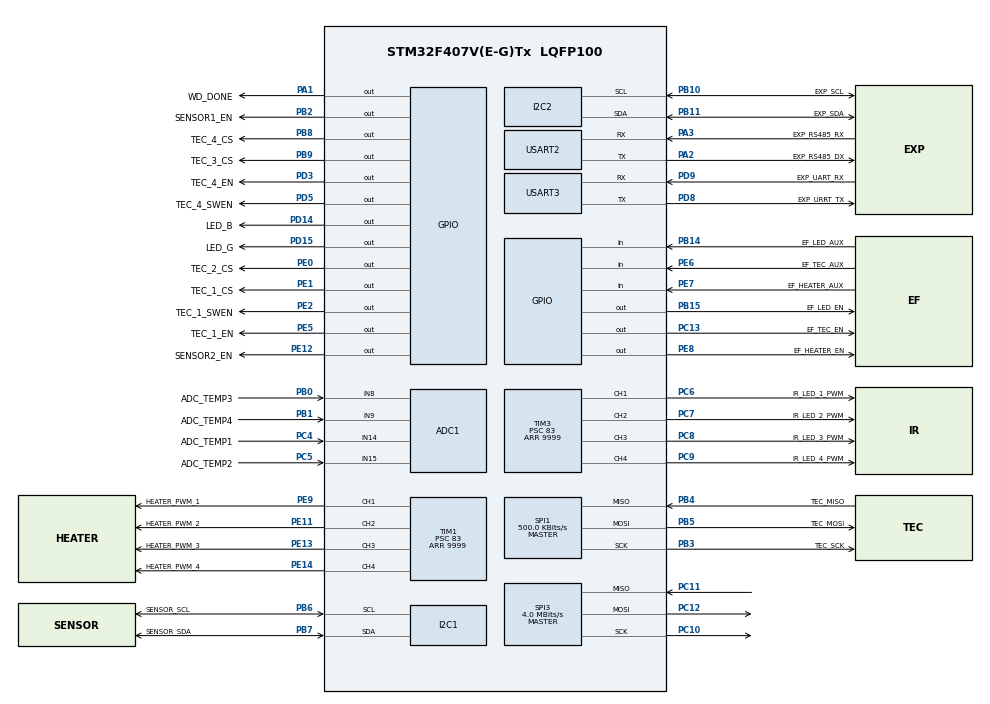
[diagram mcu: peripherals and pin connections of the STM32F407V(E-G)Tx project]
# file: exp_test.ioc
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ADC1.Channel-0\#ChannelRegularConversion=ADC_CHANNEL_14
ADC1.Channel-1\#ChannelRegularConversion=ADC_CHANNEL_15
ADC1.Channel-2\#ChannelRegularConversion=ADC_CHANNEL_8
ADC1.Channel-3\#ChannelRegularConversion=ADC_CHANNEL_9
ADC1.ContinuousConvMode=ENABLE
ADC1.DMAContinuousRequests=ENABLE
ADC1.EOCSelection=ADC_EOC_SEQ_CONV
ADC1.InjNumberOfConversion=0
ADC1.NbrOfConversion=4
ADC1.NbrOfConversionFlag=1
ADC1.Rank-0\#ChannelRegularConversion=1
ADC1.Rank-1\#ChannelRegularConversion=2
ADC1.Rank-2\#ChannelRegularConversion=3
ADC1.Rank-3\#ChannelRegularConversion=4
ADC1.SamplingTime-0\#ChannelRegularConversion=ADC_SAMPLETIME_15CYCLES
ADC1.SamplingTime-1\#ChannelRegularConversion=ADC_SAMPLETIME_15CYCLES
ADC1.SamplingTime-2\#ChannelRegularConversion=ADC_SAMPLETIME_15CYCLES
ADC1.SamplingTime-3\#ChannelRegularConversion=ADC_SAMPLETIME_15CYCLES
ADC1.ScanConvMode=ENABLE
ADC1.master=1
Dma.ADC1.0.Direction=DMA_PERIPH_TO_MEMORY
Dma.ADC1.0.FIFOMode=DMA_FIFOMODE_DISABLE
Dma.ADC1.0.Instance=DMA2_Stream0
Dma.ADC1.0.MemDataAlignment=DMA_MDATAALIGN_HALFWORD
Dma.ADC1.0.MemInc=DMA_MINC_ENABLE
Dma.ADC1.0.Mode=DMA_CIRCULAR
Dma.ADC1.0.PeriphDataAlignment=DMA_PDATAALIGN_HALFWORD
Dma.ADC1.0.PeriphInc=DMA_PINC_DISABLE
Dma.ADC1.0.Priority=DMA_PRIORITY_MEDIUM
Dma.Request0=ADC1
Mcu.Family=STM32F4
Mcu.Name=STM32F407V(E-G)Tx
Mcu.Package=LQFP100
NVIC.DMA2_Stream0_IRQn=true\:0\:0\:false\:false\:true\:false\:true\:true
NVIC.I2C2_ER_IRQn=true\:0\:0\:false\:false\:true\:true\:true\:true
NVIC.I2C2_EV_IRQn=true\:0\:0\:false\:false\:true\:true\:true\:true
NVIC.PriorityGroup=NVIC_PRIORITYGROUP_4
NVIC.USART2_IRQn=true\:0\:0\:false\:false\:true\:true\:true\:true
NVIC.USART3_IRQn=true\:0\:0\:false\:false\:true\:true\:true\:true
PA0-WKUP.Mode=SYS_WakeUp0
PA0-WKUP.Signal=SYS_WKUP
PA1.GPIO_Label=WD_DONE
PA1.Signal=GPIO_Output
PA13.Mode=Serial_Wire
PA13.Signal=SYS_JTMS-SWDIO
PA14.Mode=Serial_Wire
PA14.Signal=SYS_JTCK-SWCLK
PA2.GPIO_Label=EXP_RS485_DX
PA2.Mode=Asynchronous
PA2.Signal=USART2_TX
PA3.GPIO_Label=EXP_RS485_RX
PA3.Mode=Asynchronous
PA3.Signal=USART2_RX
PB0.GPIO_Label=ADC_TEMP3
PB0.Signal=ADCx_IN8
PB1.GPIO_Label=ADC_TEMP4
PB1.Signal=ADCx_IN9
PB10.GPIO_Label=EXP_SCL
PB10.Mode=I2C
PB10.Signal=I2C2_SCL
PB11.GPIO_Label=EXP_SDA
PB11.Mode=I2C
PB11.Signal=I2C2_SDA
PB12.GPIO_Label=EXP_CAN_RX
PB12.Signal=CAN2_RX
PB13.GPIO_Label=EXP_CAN_TX
PB13.Signal=CAN2_TX
PB14.GPIO_Label=EF_LED_AUX
PB14.Signal=GPIO_Input
PB15.GPIO_Label=EF_LED_EN
PB15.Signal=GPIO_Output
PB2.GPIO_Label=SENSOR1_EN
PB2.Signal=GPIO_Output
PB3.GPIO_Label=TEC_SCK
PB3.GPIO_PuPd=GPIO_NOPULL
PB3.Mode=Full_Duplex_Master
PB3.Signal=SPI1_SCK
PB4.GPIO_Label=TEC_MISO
PB4.GPIO_PuPd=GPIO_NOPULL
PB4.Mode=Full_Duplex_Master
PB4.Signal=SPI1_MISO
PB5.GPIO_Label=TEC_MOSI
PB5.GPIO_PuPd=GPIO_NOPULL
PB5.Mode=Full_Duplex_Master
PB5.Signal=SPI1_MOSI
PB6.GPIO_Label=SENSOR_SCL
PB6.Mode=I2C
PB6.Signal=I2C1_SCL
PB7.GPIO_Label=SENSOR_SDA
PB7.Mode=I2C
PB7.Signal=I2C1_SDA
PB8.GPIO_Label=TEC_4_CS
PB8.PinState=GPIO_PIN_SET
PB8.Signal=GPIO_Output
PB9.GPIO_Label=TEC_3_CS
PB9.PinState=GPIO_PIN_SET
PB9.Signal=GPIO_Output
PC10.Mode=Full_Duplex_Master
PC10.Signal=SPI3_SCK
PC11.Mode=Full_Duplex_Master
PC11.Signal=SPI3_MISO
PC12.Mode=Full_Duplex_Master
PC12.Signal=SPI3_MOSI
PC13-ANTI_TAMP.GPIO_Label=EF_TEC_EN
PC13-ANTI_TAMP.Signal=GPIO_Output
PC4.GPIO_Label=ADC_TEMP1
PC4.Signal=ADCx_IN14
PC5.GPIO_Label=ADC_TEMP2
PC5.Signal=ADCx_IN15
PC6.GPIO_Label=IR_LED_1_PWM
PC6.Signal=S_TIM3_CH1
PC7.GPIO_Label=IR_LED_2_PWM
PC7.Signal=S_TIM3_CH2
PC8.GPIO_Label=IR_LED_3_PWM
PC8.Signal=S_TIM3_CH3
PC9.GPIO_Label=IR_LED_4_PWM
PC9.Signal=S_TIM3_CH4
PD14.GPIO_Label=LED_B
PD14.Signal=GPIO_Output
PD15.GPIO_Label=LED_G
PD15.Signal=GPIO_Output
PD3.GPIO_Label=TEC_4_EN
PD3.Signal=GPIO_Output
PD5.GPIO_Label=TEC_4_SWEN
PD5.Signal=GPIO_Output
PD8.GPIO_Label=EXP_URRT_TX
PD8.Mode=Asynchronous
PD8.Signal=USART3_TX
PD9.GPIO_Label=EXP_UART_RX
PD9.Mode=Asynchronous
PD9.Signal=USART3_RX
PE0.GPIO_Label=TEC_2_CS
PE0.PinState=GPIO_PIN_SET
PE0.Signal=GPIO_Output
PE1.GPIO_Label=TEC_1_CS
PE1.GPIO_PuPd=GPIO_NOPULL
PE1.PinState=GPIO_PIN_SET
PE1.Signal=GPIO_Output
PE11.GPIO_Label=HEATER_PWM_2
PE11.Signal=S_TIM1_CH2
PE12.GPIO_Label=SENSOR2_EN
PE12.Signal=GPIO_Output
PE13.GPIO_Label=HEATER_PWM_3
PE13.Signal=S_TIM1_CH3
PE14.GPIO_Label=HEATER_PWM_4
PE14.Signal=S_TIM1_CH4
PE2.GPIO_Label=TEC_1_SWEN
PE2.GPIO_PuPd=GPIO_PULLDOWN
PE2.Signal=GPIO_Output
PE5.GPIO_Label=TEC_1_EN
PE5.GPIO_PuPd=GPIO_PULLDOWN
PE5.Signal=GPIO_Output
PE6.GPIO_Label=EF_TEC_AUX
PE6.Signal=GPIO_Input
PE7.GPIO_Label=EF_HEATER_AUX
PE7.Signal=GPIO_Input
PE8.GPIO_Label=EF_HEATER_EN
PE8.Signal=GPIO_Output
PE9.GPIO_Label=HEATER_PWM_1
PE9.Signal=S_TIM1_CH1
PH0-OSC_IN.Mode=HSE-External-Oscillator
PH0-OSC_IN.Signal=RCC_OSC_IN
PH1-OSC_OUT.Mode=HSE-External-Oscillator
PH1-OSC_OUT.Signal=RCC_OSC_OUT
ProjectManager.HeapSize=0x200
ProjectManager.StackSize=0x400
ProjectManager.TargetToolchain=STM32CubeIDE
RCC.48MHZClocksFreq_Value=24000000
RCC.AHBFreq_Value=8000000
RCC.APB1Freq_Value=8000000
RCC.APB1TimFreq_Value=8000000
RCC.APB2Freq_Value=8000000
RCC.APB2TimFreq_Value=8000000
RCC.CortexFreq_Value=8000000
RCC.HCLKFreq_Value=8000000
RCC.HSE_VALUE=8000000
RCC.HSI_VALUE=16000000
RCC.LSE_VALUE=32768
RCC.PLLSourceVirtual=RCC_PLLSOURCE_HSE
RCC.SYSCLKFreq_VALUE=8000000
RCC.SYSCLKSource=RCC_SYSCLKSOURCE_HSE
RCC.VCOOutputFreq_Value=96000000
SH.ADCx_IN14.0=ADC1_IN14,IN14
SH.ADCx_IN15.0=ADC1_IN15,IN15
SH.ADCx_IN8.0=ADC1_IN8,IN8
SH.ADCx_IN9.0=ADC1_IN9,IN9
SH.S_TIM1_CH1.0=TIM1_CH1,PWM Generation1 CH1
SH.S_TIM1_CH2.0=TIM1_CH2,PWM Generation2 CH2
SH.S_TIM1_CH3.0=TIM1_CH3,PWM Generation3 CH3
SH.S_TIM1_CH4.0=TIM1_CH4,PWM Generation4 CH4
SH.S_TIM3_CH1.0=TIM3_CH1,PWM Generation1 CH1
SH.S_TIM3_CH2.0=TIM3_CH2,PWM Generation2 CH2
SH.S_TIM3_CH3.0=TIM3_CH3,PWM Generation3 CH3
SH.S_TIM3_CH4.0=TIM3_CH4,PWM Generation4 CH4
SPI1.BaudRatePrescaler=SPI_BAUDRATEPRESCALER_16
SPI1.CRCCalculation=SPI_CRCCALCULATION_DISABLE
SPI1.CalculateBaudRate=500.0 KBits/s
SPI1.Direction=SPI_DIRECTION_2LINES
SPI1.Mode=SPI_MODE_MASTER
SPI1.VirtualType=VM_MASTER
SPI3.CalculateBaudRate=4.0 MBits/s
SPI3.Direction=SPI_DIRECTION_2LINES
SPI3.Mode=SPI_MODE_MASTER
SPI3.VirtualType=VM_MASTER
TIM1.Channel-PWM\ Generation1\ CH1=TIM_CHANNEL_1
TIM1.Channel-PWM\ Generation2\ CH2=TIM_CHANNEL_2
TIM1.Channel-PWM\ Generation3\ CH3=TIM_CHANNEL_3
TIM1.Channel-PWM\ Generation4\ CH4=TIM_CHANNEL_4
TIM1.Period=9999
TIM1.Prescaler=83
TIM3.Channel-PWM\ Generation1\ CH1=TIM_CHANNEL_1
TIM3.Channel-PWM\ Generation2\ CH2=TIM_CHANNEL_2
TIM3.Channel-PWM\ Generation3\ CH3=TIM_CHANNEL_3
TIM3.Channel-PWM\ Generation4\ CH4=TIM_CHANNEL_4
TIM3.Period=9999
TIM3.Prescaler=83
USART2.VirtualMode=VM_ASYNC
USART3.VirtualMode=VM_ASYNC
VP_TIM1_VS_ClockSourceINT.Mode=Internal
VP_TIM3_VS_ClockSourceINT.Mode=Internal
board=custom

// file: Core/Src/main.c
/* USER CODE BEGIN Header */
/**
  ******************************************************************************
  * @file           : main.c
  * @brief          : Main program body
  ******************************************************************************
  * @attention
  *
  * Copyright (c) 2024 STMicroelectronics.
  * All rights reserved.
  *
  * This software is licensed under terms that can be found in the LICENSE file
  * in the root directory of this software component.
  * If no LICENSE file comes with this software, it is provided AS-IS.
  *
  ******************************************************************************
  */
/* USER CODE END Header */
#include "main.h"

/* USER CODE BEGIN Includes */
#include "board.h"
#include "scheduler.h"
#include "watchdog.h"
#include "status_led.h"
#include "command.h"
#include "cmdline.h"
#include "uart.h"
#include "ntc.h"
#include "temperature.h"
#include "copc.h"
#include "sensor_i2c.h"
#include "register.h"
#include "i2c_slave.h"
#include "i2c.h"

/* USER CODE END Includes */

SPI_HandleTypeDef hspi3;

void SystemClock_Config(void);
static void MX_GPIO_Init(void);
static void MX_DMA_Init(void);
static void MX_USART3_UART_Init(void);
static void MX_SPI1_Init(void);
static void MX_ADC1_Init(void);
static void MX_TIM1_Init(void);
static void MX_USART2_UART_Init(void);
static void MX_I2C1_Init(void);
static void MX_TIM3_Init(void);
static void MX_I2C2_Init(void);
static void MX_SPI3_Init(void);

int main(void)
{

  /* MCU Configuration--------------------------------------------------------*/

  /* Reset of all peripherals, Initializes the Flash interface and the Systick. */
  HAL_Init();

  /* Configure the system clock */
  SystemClock_Config();

  /* Initialize all configured peripherals */
  MX_GPIO_Init();
  MX_DMA_Init();
  MX_USART3_UART_Init();
  MX_SPI1_Init();
  MX_ADC1_Init();
  MX_TIM1_Init();
  MX_USART2_UART_Init();
  MX_I2C1_Init();
  MX_TIM3_Init();
  MX_I2C2_Init();
  MX_SPI3_Init();
  /* USER CODE BEGIN 2 */
    WDT_init();
    status_led_init();
    command_init();
    NTC_DMA_ADC_init();
    temperature_init();
    copc_init();

    SCH_Initialize();
    WDT_create_task();
    status_led_create_task();
    command_create_task();
    temperature_create_task();
    copc_create_task();
    //sensor_i2c_create_task();

    SCH_StartSchedular();
  /* USER CODE END 2 */

  /* Infinite loop */
  /* USER CODE BEGIN WHILE */
    register_init();
    i2c_slave_init(I2C2);

    uint8_t data;
    uint8_t reg_value;
	LL_GPIO_SetOutputPin(SENSOR1_EN_GPIO_Port, SENSOR1_EN_Pin);
	LL_GPIO_SetOutputPin(SENSOR2_EN_GPIO_Port, SENSOR2_EN_Pin);
  while (1)
  {
	SCH_HandleScheduledTask();
//	  I2C_Read(I2C1, 0x77, 0x1B, &data);
//	  LL_mDelay(1000);
//
//	reg_value = (uint8_t)data;
//	reg_value &= ~(0x30);
//	reg_value |= (3 << 4);
//	reg_value |= (3 << 0);
    /* USER CODE END WHILE */

    /* USER CODE BEGIN 3 */
//	I2C_Write(I2C1, 0x77, 0x1B, reg_value);
//	LL_mDelay(1000);
  }
  /* USER CODE END 3 */
}

void SystemClock_Config(void)
{
  LL_FLASH_SetLatency(LL_FLASH_LATENCY_0);
  while(LL_FLASH_GetLatency()!= LL_FLASH_LATENCY_0)
  {
  }
  LL_PWR_SetRegulVoltageScaling(LL_PWR_REGU_VOLTAGE_SCALE1);
  LL_RCC_HSE_Enable();

   /* Wait till HSE is ready */
  while(LL_RCC_HSE_IsReady() != 1)
  {

  }
  LL_RCC_SetAHBPrescaler(LL_RCC_SYSCLK_DIV_1);
  LL_RCC_SetAPB1Prescaler(LL_RCC_APB1_DIV_1);
  LL_RCC_SetAPB2Prescaler(LL_RCC_APB2_DIV_1);
  LL_RCC_SetSysClkSource(LL_RCC_SYS_CLKSOURCE_HSE);

   /* Wait till System clock is ready */
  while(LL_RCC_GetSysClkSource() != LL_RCC_SYS_CLKSOURCE_STATUS_HSE)
  {

  }
  LL_SetSystemCoreClock(8000000);

   /* Update the time base */
  if (HAL_InitTick (TICK_INT_PRIORITY) != HAL_OK)
  {
    Error_Handler();
  }
}

static void MX_ADC1_Init(void)
{

  LL_ADC_InitTypeDef ADC_InitStruct = {0};
  LL_ADC_REG_InitTypeDef ADC_REG_InitStruct = {0};
  LL_ADC_CommonInitTypeDef ADC_CommonInitStruct = {0};

  LL_GPIO_InitTypeDef GPIO_InitStruct = {0};

  /* Peripheral clock enable */
  LL_APB2_GRP1_EnableClock(LL_APB2_GRP1_PERIPH_ADC1);

  LL_AHB1_GRP1_EnableClock(LL_AHB1_GRP1_PERIPH_GPIOC);
  LL_AHB1_GRP1_EnableClock(LL_AHB1_GRP1_PERIPH_GPIOB);
  /**ADC1 GPIO Configuration
  PC4   ------> ADC1_IN14
  PC5   ------> ADC1_IN15
  PB0   ------> ADC1_IN8
  PB1   ------> ADC1_IN9
  */
  GPIO_InitStruct.Pin = ADC_TEMP1_Pin|ADC_TEMP2_Pin;
  GPIO_InitStruct.Mode = LL_GPIO_MODE_ANALOG;
  GPIO_InitStruct.Pull = LL_GPIO_PULL_NO;
  LL_GPIO_Init(GPIOC, &GPIO_InitStruct);

  GPIO_InitStruct.Pin = ADC_TEMP3_Pin|ADC_TEMP4_Pin;
  GPIO_InitStruct.Mode = LL_GPIO_MODE_ANALOG;
  GPIO_InitStruct.Pull = LL_GPIO_PULL_NO;
  LL_GPIO_Init(GPIOB, &GPIO_InitStruct);

  /* ADC1 DMA Init */

  /* ADC1 Init */
  LL_DMA_SetChannelSelection(DMA2, LL_DMA_STREAM_0, LL_DMA_CHANNEL_0);

  LL_DMA_SetDataTransferDirection(DMA2, LL_DMA_STREAM_0, LL_DMA_DIRECTION_PERIPH_TO_MEMORY);

  LL_DMA_SetStreamPriorityLevel(DMA2, LL_DMA_STREAM_0, LL_DMA_PRIORITY_MEDIUM);

  LL_DMA_SetMode(DMA2, LL_DMA_STREAM_0, LL_DMA_MODE_CIRCULAR);

  LL_DMA_SetPeriphIncMode(DMA2, LL_DMA_STREAM_0, LL_DMA_PERIPH_NOINCREMENT);

  LL_DMA_SetMemoryIncMode(DMA2, LL_DMA_STREAM_0, LL_DMA_MEMORY_INCREMENT);

  LL_DMA_SetPeriphSize(DMA2, LL_DMA_STREAM_0, LL_DMA_PDATAALIGN_HALFWORD);

  LL_DMA_SetMemorySize(DMA2, LL_DMA_STREAM_0, LL_DMA_MDATAALIGN_HALFWORD);

  LL_DMA_DisableFifoMode(DMA2, LL_DMA_STREAM_0);

  /** Common config
  */
  ADC_InitStruct.Resolution = LL_ADC_RESOLUTION_12B;
  ADC_InitStruct.DataAlignment = LL_ADC_DATA_ALIGN_RIGHT;
  ADC_InitStruct.SequencersScanMode = LL_ADC_SEQ_SCAN_ENABLE;
  LL_ADC_Init(ADC1, &ADC_InitStruct);
  ADC_REG_InitStruct.TriggerSource = LL_ADC_REG_TRIG_SOFTWARE;
  ADC_REG_InitStruct.SequencerLength = LL_ADC_REG_SEQ_SCAN_ENABLE_4RANKS;
  ADC_REG_InitStruct.SequencerDiscont = LL_ADC_REG_SEQ_DISCONT_DISABLE;
  ADC_REG_InitStruct.ContinuousMode = LL_ADC_REG_CONV_CONTINUOUS;
  ADC_REG_InitStruct.DMATransfer = LL_ADC_REG_DMA_TRANSFER_UNLIMITED;
  LL_ADC_REG_Init(ADC1, &ADC_REG_InitStruct);
  LL_ADC_REG_SetFlagEndOfConversion(ADC1, LL_ADC_REG_FLAG_EOC_SEQUENCE_CONV);
  ADC_CommonInitStruct.CommonClock = LL_ADC_CLOCK_SYNC_PCLK_DIV2;
  ADC_CommonInitStruct.Multimode = LL_ADC_MULTI_INDEPENDENT;
  LL_ADC_CommonInit(__LL_ADC_COMMON_INSTANCE(ADC1), &ADC_CommonInitStruct);

  /** Configure Regular Channel
  */
  LL_ADC_REG_SetSequencerRanks(ADC1, LL_ADC_REG_RANK_1, LL_ADC_CHANNEL_14);
  LL_ADC_SetChannelSamplingTime(ADC1, LL_ADC_CHANNEL_14, LL_ADC_SAMPLINGTIME_15CYCLES);

  /** Configure Regular Channel
  */
  LL_ADC_REG_SetSequencerRanks(ADC1, LL_ADC_REG_RANK_2, LL_ADC_CHANNEL_15);
  LL_ADC_SetChannelSamplingTime(ADC1, LL_ADC_CHANNEL_15, LL_ADC_SAMPLINGTIME_15CYCLES);

  /** Configure Regular Channel
  */
  LL_ADC_REG_SetSequencerRanks(ADC1, LL_ADC_REG_RANK_3, LL_ADC_CHANNEL_8);
  LL_ADC_SetChannelSamplingTime(ADC1, LL_ADC_CHANNEL_8, LL_ADC_SAMPLINGTIME_15CYCLES);

  /** Configure Regular Channel
  */
  LL_ADC_REG_SetSequencerRanks(ADC1, LL_ADC_REG_RANK_4, LL_ADC_CHANNEL_9);
  LL_ADC_SetChannelSamplingTime(ADC1, LL_ADC_CHANNEL_9, LL_ADC_SAMPLINGTIME_15CYCLES);

}

static void MX_I2C1_Init(void)
{

  LL_I2C_InitTypeDef I2C_InitStruct = {0};

  LL_GPIO_InitTypeDef GPIO_InitStruct = {0};

  LL_AHB1_GRP1_EnableClock(LL_AHB1_GRP1_PERIPH_GPIOB);
  /**I2C1 GPIO Configuration
  PB6   ------> I2C1_SCL
  PB7   ------> I2C1_SDA
  */
  GPIO_InitStruct.Pin = SENSOR_SCL_Pin|SENSOR_SDA_Pin;
  GPIO_InitStruct.Mode = LL_GPIO_MODE_ALTERNATE;
  GPIO_InitStruct.Speed = LL_GPIO_SPEED_FREQ_VERY_HIGH;
  GPIO_InitStruct.OutputType = LL_GPIO_OUTPUT_OPENDRAIN;
  GPIO_InitStruct.Pull = LL_GPIO_PULL_NO;
  GPIO_InitStruct.Alternate = LL_GPIO_AF_4;
  LL_GPIO_Init(GPIOB, &GPIO_InitStruct);

  /* Peripheral clock enable */
  LL_APB1_GRP1_EnableClock(LL_APB1_GRP1_PERIPH_I2C1);

  /** I2C Initialization
  */
  LL_I2C_DisableOwnAddress2(I2C1);
  LL_I2C_DisableGeneralCall(I2C1);
  LL_I2C_EnableClockStretching(I2C1);
  I2C_InitStruct.PeripheralMode = LL_I2C_MODE_I2C;
  I2C_InitStruct.ClockSpeed = 100000;
  I2C_InitStruct.DutyCycle = LL_I2C_DUTYCYCLE_2;
  I2C_InitStruct.OwnAddress1 = 0;
  I2C_InitStruct.TypeAcknowledge = LL_I2C_ACK;
  I2C_InitStruct.OwnAddrSize = LL_I2C_OWNADDRESS1_7BIT;
  LL_I2C_Init(I2C1, &I2C_InitStruct);
  LL_I2C_SetOwnAddress2(I2C1, 0);
  /* USER CODE BEGIN I2C1_Init 2 */
  LL_I2C_Enable(I2C1);
  /* USER CODE END I2C1_Init 2 */

}

static void MX_I2C2_Init(void)
{

  LL_I2C_InitTypeDef I2C_InitStruct = {0};

  LL_GPIO_InitTypeDef GPIO_InitStruct = {0};

  LL_AHB1_GRP1_EnableClock(LL_AHB1_GRP1_PERIPH_GPIOB);
  /**I2C2 GPIO Configuration
  PB10   ------> I2C2_SCL
  PB11   ------> I2C2_SDA
  */
  GPIO_InitStruct.Pin = EXP_SCL_Pin|EXP_SDA_Pin;
  GPIO_InitStruct.Mode = LL_GPIO_MODE_ALTERNATE;
  GPIO_InitStruct.Speed = LL_GPIO_SPEED_FREQ_VERY_HIGH;
  GPIO_InitStruct.OutputType = LL_GPIO_OUTPUT_OPENDRAIN;
  GPIO_InitStruct.Pull = LL_GPIO_PULL_NO;
  GPIO_InitStruct.Alternate = LL_GPIO_AF_4;
  LL_GPIO_Init(GPIOB, &GPIO_InitStruct);

  /* Peripheral clock enable */
  LL_APB1_GRP1_EnableClock(LL_APB1_GRP1_PERIPH_I2C2);

  /* I2C2 interrupt Init */
  NVIC_SetPriority(I2C2_EV_IRQn, NVIC_EncodePriority(NVIC_GetPriorityGrouping(),0, 0));
  NVIC_EnableIRQ(I2C2_EV_IRQn);
  NVIC_SetPriority(I2C2_ER_IRQn, NVIC_EncodePriority(NVIC_GetPriorityGrouping(),0, 0));
  NVIC_EnableIRQ(I2C2_ER_IRQn);

  /** I2C Initialization
  */
  LL_I2C_DisableOwnAddress2(I2C2);
  LL_I2C_DisableGeneralCall(I2C2);
  LL_I2C_EnableClockStretching(I2C2);
  I2C_InitStruct.PeripheralMode = LL_I2C_MODE_I2C;
  I2C_InitStruct.ClockSpeed = 100000;
  I2C_InitStruct.DutyCycle = LL_I2C_DUTYCYCLE_2;
  I2C_InitStruct.OwnAddress1 = 0;
  I2C_InitStruct.TypeAcknowledge = LL_I2C_ACK;
  I2C_InitStruct.OwnAddrSize = LL_I2C_OWNADDRESS1_7BIT;
  LL_I2C_Init(I2C2, &I2C_InitStruct);
  LL_I2C_SetOwnAddress2(I2C2, 0);
  /* USER CODE BEGIN I2C2_Init 2 */
  LL_I2C_EnableIT_EVT(I2C2);
//  LL_I2C_EnableIT_ERR(I2C2);
  LL_I2C_Enable(I2C2);
  /* USER CODE END I2C2_Init 2 */

}

static void MX_SPI1_Init(void)
{

  LL_SPI_InitTypeDef SPI_InitStruct = {0};

  LL_GPIO_InitTypeDef GPIO_InitStruct = {0};

  /* Peripheral clock enable */
  LL_APB2_GRP1_EnableClock(LL_APB2_GRP1_PERIPH_SPI1);

  LL_AHB1_GRP1_EnableClock(LL_AHB1_GRP1_PERIPH_GPIOB);
  /**SPI1 GPIO Configuration
  PB3   ------> SPI1_SCK
  PB4   ------> SPI1_MISO
  PB5   ------> SPI1_MOSI
  */
  GPIO_InitStruct.Pin = TEC_SCK_Pin|TEC_MISO_Pin|TEC_MOSI_Pin;
  GPIO_InitStruct.Mode = LL_GPIO_MODE_ALTERNATE;
  GPIO_InitStruct.Speed = LL_GPIO_SPEED_FREQ_VERY_HIGH;
  GPIO_InitStruct.OutputType = LL_GPIO_OUTPUT_PUSHPULL;
  GPIO_InitStruct.Pull = LL_GPIO_PULL_NO;
  GPIO_InitStruct.Alternate = LL_GPIO_AF_5;
  LL_GPIO_Init(GPIOB, &GPIO_InitStruct);

  /* SPI1 parameter configuration*/
  SPI_InitStruct.TransferDirection = LL_SPI_FULL_DUPLEX;
  SPI_InitStruct.Mode = LL_SPI_MODE_MASTER;
  SPI_InitStruct.DataWidth = LL_SPI_DATAWIDTH_8BIT;
  SPI_InitStruct.ClockPolarity = LL_SPI_POLARITY_LOW;
  SPI_InitStruct.ClockPhase = LL_SPI_PHASE_1EDGE;
  SPI_InitStruct.NSS = LL_SPI_NSS_SOFT;
  SPI_InitStruct.BaudRate = LL_SPI_BAUDRATEPRESCALER_DIV16;
  SPI_InitStruct.BitOrder = LL_SPI_MSB_FIRST;
  SPI_InitStruct.CRCCalculation = LL_SPI_CRCCALCULATION_DISABLE;
  SPI_InitStruct.CRCPoly = 10;
  LL_SPI_Init(SPI1, &SPI_InitStruct);
  LL_SPI_SetStandard(SPI1, LL_SPI_PROTOCOL_MOTOROLA);
  /* USER CODE BEGIN SPI1_Init 2 */
  LL_SPI_Enable(SPI1);
  /* USER CODE END SPI1_Init 2 */

}

static void MX_SPI3_Init(void)
{

  /* SPI3 parameter configuration*/
  hspi3.Instance = SPI3;
  hspi3.Init.Mode = SPI_MODE_MASTER;
  hspi3.Init.Direction = SPI_DIRECTION_2LINES;
  hspi3.Init.DataSize = SPI_DATASIZE_8BIT;
  hspi3.Init.CLKPolarity = SPI_POLARITY_LOW;
  hspi3.Init.CLKPhase = SPI_PHASE_1EDGE;
  hspi3.Init.NSS = SPI_NSS_SOFT;
  hspi3.Init.BaudRatePrescaler = SPI_BAUDRATEPRESCALER_2;
  hspi3.Init.FirstBit = SPI_FIRSTBIT_MSB;
  hspi3.Init.TIMode = SPI_TIMODE_DISABLE;
  hspi3.Init.CRCCalculation = SPI_CRCCALCULATION_DISABLE;
  hspi3.Init.CRCPolynomial = 10;
  if (HAL_SPI_Init(&hspi3) != HAL_OK)
  {
    Error_Handler();
  }

}

static void MX_TIM1_Init(void)
{

  LL_TIM_InitTypeDef TIM_InitStruct = {0};
  LL_TIM_OC_InitTypeDef TIM_OC_InitStruct = {0};
  LL_TIM_BDTR_InitTypeDef TIM_BDTRInitStruct = {0};

  LL_GPIO_InitTypeDef GPIO_InitStruct = {0};

  /* Peripheral clock enable */
  LL_APB2_GRP1_EnableClock(LL_APB2_GRP1_PERIPH_TIM1);

  TIM_InitStruct.Prescaler = 83;
  TIM_InitStruct.CounterMode = LL_TIM_COUNTERMODE_UP;
  TIM_InitStruct.Autoreload = 9999;
  TIM_InitStruct.ClockDivision = LL_TIM_CLOCKDIVISION_DIV1;
  TIM_InitStruct.RepetitionCounter = 0;
  LL_TIM_Init(TIM1, &TIM_InitStruct);
  LL_TIM_DisableARRPreload(TIM1);
  LL_TIM_SetClockSource(TIM1, LL_TIM_CLOCKSOURCE_INTERNAL);
  LL_TIM_OC_EnablePreload(TIM1, LL_TIM_CHANNEL_CH1);
  TIM_OC_InitStruct.OCMode = LL_TIM_OCMODE_PWM1;
  TIM_OC_InitStruct.OCState = LL_TIM_OCSTATE_DISABLE;
  TIM_OC_InitStruct.OCNState = LL_TIM_OCSTATE_DISABLE;
  TIM_OC_InitStruct.CompareValue = 0;
  TIM_OC_InitStruct.OCPolarity = LL_TIM_OCPOLARITY_HIGH;
  TIM_OC_InitStruct.OCNPolarity = LL_TIM_OCPOLARITY_HIGH;
  TIM_OC_InitStruct.OCIdleState = LL_TIM_OCIDLESTATE_LOW;
  TIM_OC_InitStruct.OCNIdleState = LL_TIM_OCIDLESTATE_LOW;
  LL_TIM_OC_Init(TIM1, LL_TIM_CHANNEL_CH1, &TIM_OC_InitStruct);
  LL_TIM_OC_DisableFast(TIM1, LL_TIM_CHANNEL_CH1);
  LL_TIM_OC_EnablePreload(TIM1, LL_TIM_CHANNEL_CH2);
  LL_TIM_OC_Init(TIM1, LL_TIM_CHANNEL_CH2, &TIM_OC_InitStruct);
  LL_TIM_OC_DisableFast(TIM1, LL_TIM_CHANNEL_CH2);
  LL_TIM_OC_EnablePreload(TIM1, LL_TIM_CHANNEL_CH3);
  LL_TIM_OC_Init(TIM1, LL_TIM_CHANNEL_CH3, &TIM_OC_InitStruct);
  LL_TIM_OC_DisableFast(TIM1, LL_TIM_CHANNEL_CH3);
  LL_TIM_OC_EnablePreload(TIM1, LL_TIM_CHANNEL_CH4);
  LL_TIM_OC_Init(TIM1, LL_TIM_CHANNEL_CH4, &TIM_OC_InitStruct);
  LL_TIM_OC_DisableFast(TIM1, LL_TIM_CHANNEL_CH4);
  LL_TIM_SetTriggerOutput(TIM1, LL_TIM_TRGO_RESET);
  LL_TIM_DisableMasterSlaveMode(TIM1);
  TIM_BDTRInitStruct.OSSRState = LL_TIM_OSSR_DISABLE;
  TIM_BDTRInitStruct.OSSIState = LL_TIM_OSSI_DISABLE;
  TIM_BDTRInitStruct.LockLevel = LL_TIM_LOCKLEVEL_OFF;
  TIM_BDTRInitStruct.DeadTime = 0;
  TIM_BDTRInitStruct.BreakState = LL_TIM_BREAK_DISABLE;
  TIM_BDTRInitStruct.BreakPolarity = LL_TIM_BREAK_POLARITY_HIGH;
  TIM_BDTRInitStruct.AutomaticOutput = LL_TIM_AUTOMATICOUTPUT_DISABLE;
  LL_TIM_BDTR_Init(TIM1, &TIM_BDTRInitStruct);
  LL_AHB1_GRP1_EnableClock(LL_AHB1_GRP1_PERIPH_GPIOE);
  /**TIM1 GPIO Configuration
  PE9   ------> TIM1_CH1
  PE11   ------> TIM1_CH2
  PE13   ------> TIM1_CH3
  PE14   ------> TIM1_CH4
  */
  GPIO_InitStruct.Pin = HEATER_PWM_1_Pin|HEATER_PWM_2_Pin|HEATER_PWM_3_Pin|HEATER_PWM_4_Pin;
  GPIO_InitStruct.Mode = LL_GPIO_MODE_ALTERNATE;
  GPIO_InitStruct.Speed = LL_GPIO_SPEED_FREQ_LOW;
  GPIO_InitStruct.OutputType = LL_GPIO_OUTPUT_PUSHPULL;
  GPIO_InitStruct.Pull = LL_GPIO_PULL_NO;
  GPIO_InitStruct.Alternate = LL_GPIO_AF_1;
  LL_GPIO_Init(GPIOE, &GPIO_InitStruct);

}

static void MX_TIM3_Init(void)
{

  LL_TIM_InitTypeDef TIM_InitStruct = {0};
  LL_TIM_OC_InitTypeDef TIM_OC_InitStruct = {0};

  LL_GPIO_InitTypeDef GPIO_InitStruct = {0};

  /* Peripheral clock enable */
  LL_APB1_GRP1_EnableClock(LL_APB1_GRP1_PERIPH_TIM3);

  TIM_InitStruct.Prescaler = 83;
  TIM_InitStruct.CounterMode = LL_TIM_COUNTERMODE_UP;
  TIM_InitStruct.Autoreload = 9999;
  TIM_InitStruct.ClockDivision = LL_TIM_CLOCKDIVISION_DIV1;
  LL_TIM_Init(TIM3, &TIM_InitStruct);
  LL_TIM_DisableARRPreload(TIM3);
  LL_TIM_SetClockSource(TIM3, LL_TIM_CLOCKSOURCE_INTERNAL);
  LL_TIM_OC_EnablePreload(TIM3, LL_TIM_CHANNEL_CH1);
  TIM_OC_InitStruct.OCMode = LL_TIM_OCMODE_PWM1;
  TIM_OC_InitStruct.OCState = LL_TIM_OCSTATE_DISABLE;
  TIM_OC_InitStruct.OCNState = LL_TIM_OCSTATE_DISABLE;
  TIM_OC_InitStruct.CompareValue = 0;
  TIM_OC_InitStruct.OCPolarity = LL_TIM_OCPOLARITY_HIGH;
  LL_TIM_OC_Init(TIM3, LL_TIM_CHANNEL_CH1, &TIM_OC_InitStruct);
  LL_TIM_OC_DisableFast(TIM3, LL_TIM_CHANNEL_CH1);
  LL_TIM_OC_EnablePreload(TIM3, LL_TIM_CHANNEL_CH2);
  LL_TIM_OC_Init(TIM3, LL_TIM_CHANNEL_CH2, &TIM_OC_InitStruct);
  LL_TIM_OC_DisableFast(TIM3, LL_TIM_CHANNEL_CH2);
  LL_TIM_OC_EnablePreload(TIM3, LL_TIM_CHANNEL_CH3);
  LL_TIM_OC_Init(TIM3, LL_TIM_CHANNEL_CH3, &TIM_OC_InitStruct);
  LL_TIM_OC_DisableFast(TIM3, LL_TIM_CHANNEL_CH3);
  LL_TIM_OC_EnablePreload(TIM3, LL_TIM_CHANNEL_CH4);
  LL_TIM_OC_Init(TIM3, LL_TIM_CHANNEL_CH4, &TIM_OC_InitStruct);
  LL_TIM_OC_DisableFast(TIM3, LL_TIM_CHANNEL_CH4);
  LL_TIM_SetTriggerOutput(TIM3, LL_TIM_TRGO_RESET);
  LL_TIM_DisableMasterSlaveMode(TIM3);
  LL_AHB1_GRP1_EnableClock(LL_AHB1_GRP1_PERIPH_GPIOC);
  /**TIM3 GPIO Configuration
  PC6   ------> TIM3_CH1
  PC7   ------> TIM3_CH2
  PC8   ------> TIM3_CH3
  PC9   ------> TIM3_CH4
  */
  GPIO_InitStruct.Pin = IR_LED_1_PWM_Pin|IR_LED_2_PWM_Pin|IR_LED_3_PWM_Pin|IR_LED_4_PWM_Pin;
  GPIO_InitStruct.Mode = LL_GPIO_MODE_ALTERNATE;
  GPIO_InitStruct.Speed = LL_GPIO_SPEED_FREQ_LOW;
  GPIO_InitStruct.OutputType = LL_GPIO_OUTPUT_PUSHPULL;
  GPIO_InitStruct.Pull = LL_GPIO_PULL_NO;
  GPIO_InitStruct.Alternate = LL_GPIO_AF_2;
  LL_GPIO_Init(GPIOC, &GPIO_InitStruct);

}

static void MX_USART2_UART_Init(void)
{

  LL_USART_InitTypeDef USART_InitStruct = {0};

  LL_GPIO_InitTypeDef GPIO_InitStruct = {0};

  /* Peripheral clock enable */
  LL_APB1_GRP1_EnableClock(LL_APB1_GRP1_PERIPH_USART2);

  LL_AHB1_GRP1_EnableClock(LL_AHB1_GRP1_PERIPH_GPIOA);
  /**USART2 GPIO Configuration
  PA2   ------> USART2_TX
  PA3   ------> USART2_RX
  */
  GPIO_InitStruct.Pin = EXP_RS485_DX_Pin|EXP_RS485_RX_Pin;
  GPIO_InitStruct.Mode = LL_GPIO_MODE_ALTERNATE;
  GPIO_InitStruct.Speed = LL_GPIO_SPEED_FREQ_VERY_HIGH;
  GPIO_InitStruct.OutputType = LL_GPIO_OUTPUT_PUSHPULL;
  GPIO_InitStruct.Pull = LL_GPIO_PULL_NO;
  GPIO_InitStruct.Alternate = LL_GPIO_AF_7;
  LL_GPIO_Init(GPIOA, &GPIO_InitStruct);

  /* USART2 interrupt Init */
  NVIC_SetPriority(USART2_IRQn, NVIC_EncodePriority(NVIC_GetPriorityGrouping(),0, 0));
  NVIC_EnableIRQ(USART2_IRQn);

  USART_InitStruct.BaudRate = 115200;
  USART_InitStruct.DataWidth = LL_USART_DATAWIDTH_8B;
  USART_InitStruct.StopBits = LL_USART_STOPBITS_1;
  USART_InitStruct.Parity = LL_USART_PARITY_NONE;
  USART_InitStruct.TransferDirection = LL_USART_DIRECTION_TX_RX;
  USART_InitStruct.HardwareFlowControl = LL_USART_HWCONTROL_NONE;
  USART_InitStruct.OverSampling = LL_USART_OVERSAMPLING_16;
  LL_USART_Init(USART2, &USART_InitStruct);
  LL_USART_ConfigAsyncMode(USART2);
  LL_USART_Enable(USART2);

}

static void MX_USART3_UART_Init(void)
{

  LL_USART_InitTypeDef USART_InitStruct = {0};

  LL_GPIO_InitTypeDef GPIO_InitStruct = {0};

  /* Peripheral clock enable */
  LL_APB1_GRP1_EnableClock(LL_APB1_GRP1_PERIPH_USART3);

  LL_AHB1_GRP1_EnableClock(LL_AHB1_GRP1_PERIPH_GPIOD);
  /**USART3 GPIO Configuration
  PD8   ------> USART3_TX
  PD9   ------> USART3_RX
  */
  GPIO_InitStruct.Pin = EXP_URRT_TX_Pin|EXP_UART_RX_Pin;
  GPIO_InitStruct.Mode = LL_GPIO_MODE_ALTERNATE;
  GPIO_InitStruct.Speed = LL_GPIO_SPEED_FREQ_VERY_HIGH;
  GPIO_InitStruct.OutputType = LL_GPIO_OUTPUT_PUSHPULL;
  GPIO_InitStruct.Pull = LL_GPIO_PULL_NO;
  GPIO_InitStruct.Alternate = LL_GPIO_AF_7;
  LL_GPIO_Init(GPIOD, &GPIO_InitStruct);

  /* USART3 interrupt Init */
  NVIC_SetPriority(USART3_IRQn, NVIC_EncodePriority(NVIC_GetPriorityGrouping(),0, 0));
  NVIC_EnableIRQ(USART3_IRQn);

  USART_InitStruct.BaudRate = 115200;
  USART_InitStruct.DataWidth = LL_USART_DATAWIDTH_8B;
  USART_InitStruct.StopBits = LL_USART_STOPBITS_1;
  USART_InitStruct.Parity = LL_USART_PARITY_NONE;
  USART_InitStruct.TransferDirection = LL_USART_DIRECTION_TX_RX;
  USART_InitStruct.HardwareFlowControl = LL_USART_HWCONTROL_NONE;
  USART_InitStruct.OverSampling = LL_USART_OVERSAMPLING_16;
  LL_USART_Init(USART3, &USART_InitStruct);
  LL_USART_ConfigAsyncMode(USART3);
  LL_USART_Enable(USART3);

}

static void MX_DMA_Init(void)
{

  /* Init with LL driver */
  /* DMA controller clock enable */
  LL_AHB1_GRP1_EnableClock(LL_AHB1_GRP1_PERIPH_DMA2);

  /* DMA interrupt init */
  /* DMA2_Stream0_IRQn interrupt configuration */
  NVIC_SetPriority(DMA2_Stream0_IRQn, NVIC_EncodePriority(NVIC_GetPriorityGrouping(),0, 0));
  NVIC_EnableIRQ(DMA2_Stream0_IRQn);

}

static void MX_GPIO_Init(void)
{
  LL_GPIO_InitTypeDef GPIO_InitStruct = {0};

  /* GPIO Ports Clock Enable */
  LL_AHB1_GRP1_EnableClock(LL_AHB1_GRP1_PERIPH_GPIOE);
  LL_AHB1_GRP1_EnableClock(LL_AHB1_GRP1_PERIPH_GPIOC);
  LL_AHB1_GRP1_EnableClock(LL_AHB1_GRP1_PERIPH_GPIOH);
  LL_AHB1_GRP1_EnableClock(LL_AHB1_GRP1_PERIPH_GPIOA);
  LL_AHB1_GRP1_EnableClock(LL_AHB1_GRP1_PERIPH_GPIOB);
  LL_AHB1_GRP1_EnableClock(LL_AHB1_GRP1_PERIPH_GPIOD);

  /**/
  LL_GPIO_ResetOutputPin(GPIOE, TEC_1_SWEN_Pin|TEC_1_EN_Pin|EF_HEATER_EN_Pin|SENSOR2_EN_Pin);

  /**/
  LL_GPIO_ResetOutputPin(EF_TEC_EN_GPIO_Port, EF_TEC_EN_Pin);

  /**/
  LL_GPIO_ResetOutputPin(WD_DONE_GPIO_Port, WD_DONE_Pin);

  /**/
  LL_GPIO_ResetOutputPin(GPIOB, SENSOR1_EN_Pin|EF_LED_EN_Pin);

  /**/
  LL_GPIO_ResetOutputPin(GPIOD, LED_B_Pin|LED_G_Pin|TEC_4_EN_Pin|TEC_4_SWEN_Pin);

  /**/
  LL_GPIO_SetOutputPin(GPIOB, TEC_4_CS_Pin|TEC_3_CS_Pin);

  /**/
  LL_GPIO_SetOutputPin(GPIOE, TEC_2_CS_Pin|TEC_1_CS_Pin);

  /**/
  GPIO_InitStruct.Pin = TEC_1_SWEN_Pin|TEC_1_EN_Pin;
  GPIO_InitStruct.Mode = LL_GPIO_MODE_OUTPUT;
  GPIO_InitStruct.Speed = LL_GPIO_SPEED_FREQ_LOW;
  GPIO_InitStruct.OutputType = LL_GPIO_OUTPUT_PUSHPULL;
  GPIO_InitStruct.Pull = LL_GPIO_PULL_DOWN;
  LL_GPIO_Init(GPIOE, &GPIO_InitStruct);

  /**/
  GPIO_InitStruct.Pin = EF_TEC_AUX_Pin|EF_HEATER_AUX_Pin;
  GPIO_InitStruct.Mode = LL_GPIO_MODE_INPUT;
  GPIO_InitStruct.Pull = LL_GPIO_PULL_NO;
  LL_GPIO_Init(GPIOE, &GPIO_InitStruct);

  /**/
  GPIO_InitStruct.Pin = EF_TEC_EN_Pin;
  GPIO_InitStruct.Mode = LL_GPIO_MODE_OUTPUT;
  GPIO_InitStruct.Speed = LL_GPIO_SPEED_FREQ_LOW;
  GPIO_InitStruct.OutputType = LL_GPIO_OUTPUT_PUSHPULL;
  GPIO_InitStruct.Pull = LL_GPIO_PULL_NO;
  LL_GPIO_Init(EF_TEC_EN_GPIO_Port, &GPIO_InitStruct);

  /**/
  GPIO_InitStruct.Pin = WD_DONE_Pin;
  GPIO_InitStruct.Mode = LL_GPIO_MODE_OUTPUT;
  GPIO_InitStruct.Speed = LL_GPIO_SPEED_FREQ_LOW;
  GPIO_InitStruct.OutputType = LL_GPIO_OUTPUT_PUSHPULL;
  GPIO_InitStruct.Pull = LL_GPIO_PULL_NO;
  LL_GPIO_Init(WD_DONE_GPIO_Port, &GPIO_InitStruct);

  /**/
  GPIO_InitStruct.Pin = SENSOR1_EN_Pin|EF_LED_EN_Pin|TEC_4_CS_Pin|TEC_3_CS_Pin;
  GPIO_InitStruct.Mode = LL_GPIO_MODE_OUTPUT;
  GPIO_InitStruct.Speed = LL_GPIO_SPEED_FREQ_LOW;
  GPIO_InitStruct.OutputType = LL_GPIO_OUTPUT_PUSHPULL;
  GPIO_InitStruct.Pull = LL_GPIO_PULL_NO;
  LL_GPIO_Init(GPIOB, &GPIO_InitStruct);

  /**/
  GPIO_InitStruct.Pin = EF_HEATER_EN_Pin|SENSOR2_EN_Pin|TEC_2_CS_Pin|TEC_1_CS_Pin;
  GPIO_InitStruct.Mode = LL_GPIO_MODE_OUTPUT;
  GPIO_InitStruct.Speed = LL_GPIO_SPEED_FREQ_LOW;
  GPIO_InitStruct.OutputType = LL_GPIO_OUTPUT_PUSHPULL;
  GPIO_InitStruct.Pull = LL_GPIO_PULL_NO;
  LL_GPIO_Init(GPIOE, &GPIO_InitStruct);

  /**/
  GPIO_InitStruct.Pin = EXP_CAN_RX_Pin|EXP_CAN_TX_Pin;
  GPIO_InitStruct.Mode = LL_GPIO_MODE_ALTERNATE;
  GPIO_InitStruct.Speed = LL_GPIO_SPEED_FREQ_VERY_HIGH;
  GPIO_InitStruct.OutputType = LL_GPIO_OUTPUT_PUSHPULL;
  GPIO_InitStruct.Pull = LL_GPIO_PULL_NO;
  GPIO_InitStruct.Alternate = LL_GPIO_AF_9;
  LL_GPIO_Init(GPIOB, &GPIO_InitStruct);

  /**/
  GPIO_InitStruct.Pin = EF_LED_AUX_Pin;
  GPIO_InitStruct.Mode = LL_GPIO_MODE_INPUT;
  GPIO_InitStruct.Pull = LL_GPIO_PULL_NO;
  LL_GPIO_Init(EF_LED_AUX_GPIO_Port, &GPIO_InitStruct);

  /**/
  GPIO_InitStruct.Pin = LED_B_Pin|LED_G_Pin|TEC_4_EN_Pin|TEC_4_SWEN_Pin;
  GPIO_InitStruct.Mode = LL_GPIO_MODE_OUTPUT;
  GPIO_InitStruct.Speed = LL_GPIO_SPEED_FREQ_LOW;
  GPIO_InitStruct.OutputType = LL_GPIO_OUTPUT_PUSHPULL;
  GPIO_InitStruct.Pull = LL_GPIO_PULL_NO;
  LL_GPIO_Init(GPIOD, &GPIO_InitStruct);

}

void Error_Handler(void)
{
  __disable_irq();
  while (1)
  {
  }
}
